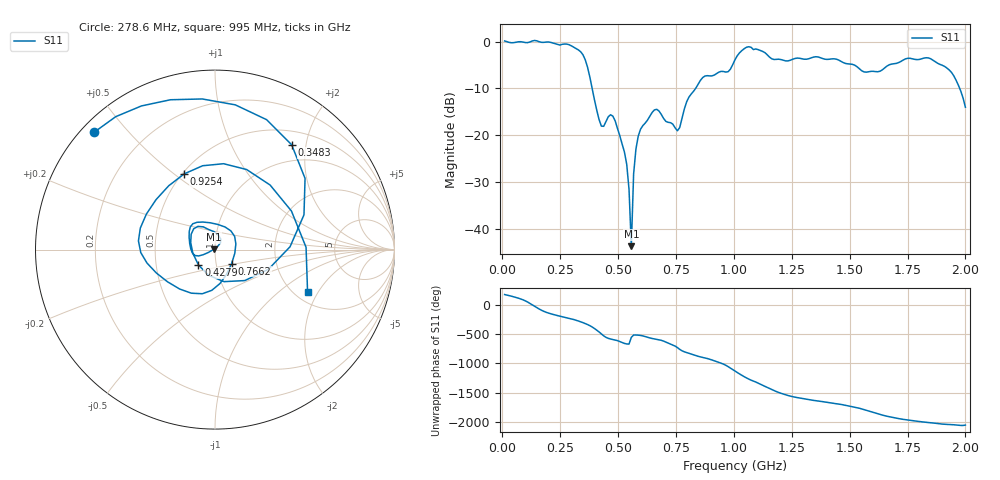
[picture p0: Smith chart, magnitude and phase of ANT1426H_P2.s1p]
!Created with skrf (http://scikit-rf.org).
# Hz S RI R 50.0
!freq ReS11 ImS11
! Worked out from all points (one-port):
!   201 points, 10 MHz to 2 GHz, reference 50 ohm
!   lowest |S11| = -43.6 dB at 557.2 MHz (marker M1), VSWR 1.01, Z = 49.4 + j0.182 ohm
!   |S11| at or under -10 dB: 388.2 MHz to 834.6 MHz (446.4 MHz wide, 73 % of centre); 1.975 GHz to end of sweep
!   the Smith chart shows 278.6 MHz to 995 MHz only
!   S11 on the Smith chart (normalised r, x): 278.6 MHz: 0.04, +0.41; 348.3 MHz: 0.71, +1.75; 427.9 MHz: 0.82, -0.14; 766.2 MHz: 1.19, -0.19; 925.4 MHz: 0.51, +0.54; 995 MHz: 2.35, -1.62
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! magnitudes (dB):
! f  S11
! 10 MHz  0.1
! 258.8 MHz  -0.6
! 278.6 MHz  -0.6
! 348.3 MHz  -2.8
! 427.9 MHz  -18.0
! 467.7 MHz  -15.6
! 507.5 MHz  -20.1
! 537.4 MHz  -26.1
! 547.3 MHz  -31.5
! 557.2 MHz  -43.6
! 567.2 MHz  -28.2
! 577.1 MHz  -22.9
! 597 MHz  -18.7
! 666.7 MHz  -14.4
! 756.2 MHz  -19.0
! 766.2 MHz  -18.3
! 806 MHz  -11.8
! 865.7 MHz  -7.7
! 925.4 MHz  -6.8
! 995 MHz  -4.9
! 1.005 GHz  -3.9
! 1.065 GHz  -1.1
! 1.254 GHz  -3.8
! 1.502 GHz  -4.8
! 1.622 GHz  -6.4
! 1.751 GHz  -3.6
! 1.93 GHz  -6.1
! 2 GHz  -14.0
